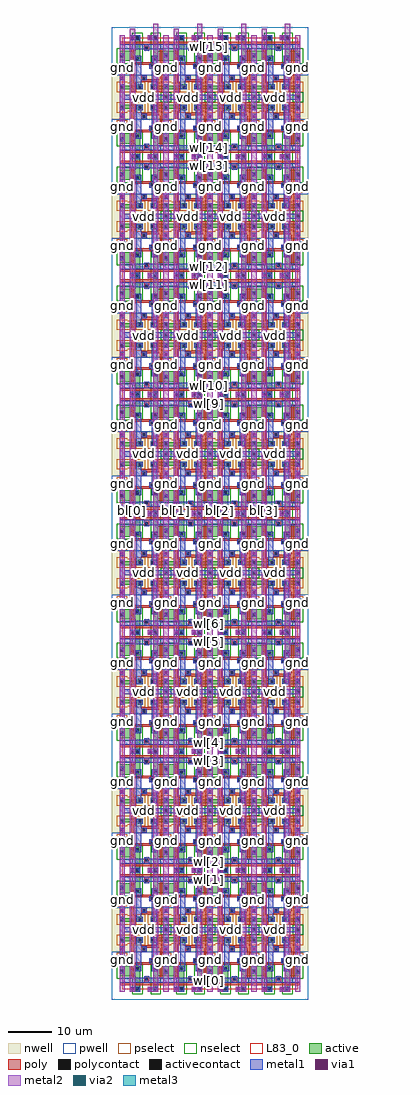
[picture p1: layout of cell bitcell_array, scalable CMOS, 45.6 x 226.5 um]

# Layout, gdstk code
import gdstk
lib = gdstk.Library(unit=1e-6, precision=1e-09)
def R(c, l, rs):  # rectangles x0, y0, x1, y1
    for r in rs: c.add(gdstk.rectangle(r[:2], r[2:], *l))
def A(c, l, x, y, w, h, nx, ny, dx, dy):  # array of equal rectangles
    R(c, l, [(x+i*dx, y+j*dy, x+i*dx+w, y+j*dy+h) for i in range(nx) for j in range(ny)])
pwell = (41, 0)
nwell = (42, 0)
active = (43, 0)
pselect = (44, 0)
nselect = (45, 0)
poly = (46, 0)
polycontact = (47, 0)
activecontact = (48, 0)
metal1 = (49, 0)
via1 = (50, 0)
metal2 = (51, 0)
via2 = (61, 0)
metal3 = (62, 0)
L83_0 = (83, 0)

cell_6t = lib.new_cell('cell_6t')
R(cell_6t, pwell, [(-2.4,-2.4,12.6,8.7)])
R(cell_6t, nwell, [(-2.4,8.7,12.6,15.3)])
A(cell_6t, active, 3.6, 10.8, 1.2, 0.3, 3, 1, 3, 0)
R(cell_6t, active, [(3,-0.6,4.2,3), (7.2,-0.6,8.4,3), (-0.6,3,4.2,5.4), (7.2,3,10.8,5.4), (-0.6,6.6,0.6,7.8), (9.6,6.6,10.8,7.8), (-0.6,10.8,0.6,11.1), (-0.6,11.1,4.8,12), (6.6,11.1,10.8,12), (9.6,13.2,10.8,14.4)])
A(cell_6t, pselect, 3, 10.2, 2.4, 0.3, 3, 1, 3, 0)
R(cell_6t, pselect, [(-1.2,6,1.2,8.4), (9,6,11.4,8.4), (-1.2,10.2,1.2,10.5), (-1.2,10.5,5.4,12.6), (6,10.5,11.4,12.6)])
R(cell_6t, nselect, [(2.4,-1.2,4.8,2.4), (6.6,-1.2,9,2.4), (-1.2,2.4,4.8,6), (6.6,2.4,11.4,6), (9,12.6,11.4,15)])
R(cell_6t, poly, [(-0.6,0.9,10.8,1.5), (5.1,1.5,6.3,3), (2.1,2.4,2.7,5.7), (8.7,2.4,9.3,9.6), (2.1,5.7,7.2,6), (2.1,6,7.5,6.3), (2.1,6.3,2.7,10.5), (6.3,6.3,7.5,7.2), (4.5,8.7,5.7,9.6), (4.5,9.6,9.3,10.2), (8.1,10.2,9.3,12.6), (2.1,10.5,3.3,12.6)])
R(cell_6t, polycontact, [(5.4,2.1,6,2.7), (6.6,6.3,7.2,6.9), (4.8,9,5.4,9.6)])
A(cell_6t, activecontact, 3.9, 11.1, 0.6, 0.6, 3, 1, 3, 0)
R(cell_6t, activecontact, [(3.3,-0.3,3.9,0.3), (7.5,-0.3,8.1,0.3), (-0.3,3.9,0.3,4.5), (9.9,3.9,10.5,4.5), (3.3,4.5,3.9,5.1), (7.5,4.5,8.1,5.1), (-0.3,6.9,0.3,7.5), (9.9,6.9,10.5,7.5), (-0.3,11.1,0.3,11.7), (9.9,13.5,10.5,14.1)])
R(cell_6t, metal1, [(1.8,-0.6,4.2,0.6), (6,-0.6,8.4,0.6), (-0.6,1.5,10.8,2.7), (-0.6,1.5,10.8,2.7), (5.1,2.7,6.3,3), (-0.6,3.6,0.6,9.9), (9.6,3.6,10.8,9.9), (3,4.2,4.5,5.4), (6.9,4.2,8.4,5.4), (3.3,5.4,4.5,8.7), (6.9,5.4,8.1,6), (6.3,6,8.1,7.2), (6.9,7.2,8.1,10.8), (3.3,8.7,5.7,9.9), (3.3,9.9,4.5,10.8), (-0.6,10.8,0.6,13.2), (3.3,10.8,4.8,12), (6.6,10.8,8.1,12), (9.6,10.8,10.8,13.2), (-0.6,13.2,10.8,14.4)])
R(cell_6t, via1, [(2.1,-0.3,2.7,0.3), (6.3,-0.3,6.9,0.3), (-0.3,9,0.3,9.6), (9.9,9,10.5,9.6), (4.8,13.5,5.4,14.1)])
R(cell_6t, metal2, [(-0.6,-0.6,0.6,14.4), (-0.6,-0.6,0.6,14.4), (1.8,-0.6,3,14.4), (1.8,-0.6,3,14.4), (6,-0.6,8.4,0.6), (9.6,-0.6,10.8,14.4), (9.6,-0.6,10.8,14.4), (7.2,0.6,8.4,14.4), (7.2,0.6,8.4,14.4), (4.5,13.2,5.7,14.4), (4.5,13.2,5.7,14.4)])
R(cell_6t, L83_0, [(0,0,10.2,13.8)])
cell_6t.add(gdstk.Label('wl', (1.2,2.1), layer=49, texttype=0))
cell_6t.add(gdstk.Label('br', (7.8,12.9), layer=51, texttype=0))
cell_6t.add(gdstk.Label('bl', (2.4,12.9), layer=51, texttype=0))
cell_6t.add(gdstk.Label('vdd', (5.1,13.8), layer=51, texttype=0))
cell_6t.add(gdstk.Label('gnd', (10.2,0), layer=51, texttype=0))
cell_6t.add(gdstk.Label('gnd', (0,0), layer=51, texttype=0))
cell_6t.add(gdstk.Label('bl', (2.4,6.9), layer=51, texttype=0))
cell_6t.add(gdstk.Label('br', (7.8,7.5), layer=51, texttype=0))
cell_6t.add(gdstk.Label('wl', (5.1,2.1), layer=49, texttype=0))
cell_6t.add(gdstk.Label('vdd', (5.1,13.8), layer=51, texttype=0))
cell_6t.add(gdstk.Label('gnd', (10.2,6.9), layer=51, texttype=0))
cell_6t.add(gdstk.Label('gnd', (0,6.9), layer=51, texttype=0))

metal2_via2_metal3_1x1 = lib.new_cell('metal2_via2_metal3_1x1')
R(metal2_via2_metal3_1x1, metal2, [(0.3,0.3,1.5,1.5)])
R(metal2_via2_metal3_1x1, via2, [(0.6,0.6,1.2,1.2)])
R(metal2_via2_metal3_1x1, metal3, [(0,0,1.8,1.8)])

bitcell_array = lib.new_cell('bitcell_array')
R(bitcell_array, metal1, [(-0.6,1.5,41.1,2.7), (-0.6,24.9,41.1,26.1), (-0.6,29.1,41.1,30.3), (-0.6,52.5,41.1,53.7), (-0.6,56.7,41.1,57.9), (-0.6,80.1,41.1,81.3), (-0.6,84.3,41.1,85.5), (-0.6,107.7,41.1,108.9), (-0.6,111.9,41.1,113.1), (-0.6,135.3,41.1,136.5), (-0.6,139.5,41.1,140.7), (-0.6,162.9,41.1,164.1), (-0.6,167.1,41.1,168.3), (-0.6,190.5,41.1,191.7), (-0.6,194.7,41.1,195.9), (-0.6,218.1,41.1,219.3)])
A(bitcell_array, metal2, 1.8, -0.6, 1.2, 223.5, 4, 1, 10.2, 0)
A(bitcell_array, metal2, 7.2, 0.6, 1.2, 223.5, 4, 1, 10.2, 0)
A(bitcell_array, metal3, -0.75, 6.15, 1.5, 1.5, 5, 16, 10.2, 13.8)
A(bitcell_array, metal3, 4.35, 13.05, 1.5, 1.5, 4, 8, 10.2, 27.6)
bitcell_array.add(gdstk.Reference(cell_6t, (0,0)))
bitcell_array.add(gdstk.Reference(cell_6t, (0,27.6), x_reflection=True))
bitcell_array.add(gdstk.Reference(cell_6t, (0,27.6)))
bitcell_array.add(gdstk.Reference(cell_6t, (0,55.2), x_reflection=True))
bitcell_array.add(gdstk.Reference(cell_6t, (0,55.2)))
bitcell_array.add(gdstk.Reference(cell_6t, (0,82.8), x_reflection=True))
bitcell_array.add(gdstk.Reference(cell_6t, (0,82.8)))
bitcell_array.add(gdstk.Reference(cell_6t, (0,110.4), x_reflection=True))
bitcell_array.add(gdstk.Reference(cell_6t, (0,110.4)))
bitcell_array.add(gdstk.Reference(cell_6t, (0,138), x_reflection=True))
bitcell_array.add(gdstk.Reference(cell_6t, (0,138)))
bitcell_array.add(gdstk.Reference(cell_6t, (0,165.6), x_reflection=True))
bitcell_array.add(gdstk.Reference(cell_6t, (0,165.6)))
bitcell_array.add(gdstk.Reference(cell_6t, (0,193.2), x_reflection=True))
bitcell_array.add(gdstk.Reference(cell_6t, (0,193.2)))
bitcell_array.add(gdstk.Reference(cell_6t, (0,220.8), x_reflection=True))
bitcell_array.add(gdstk.Reference(cell_6t, (10.2,0)))
bitcell_array.add(gdstk.Reference(cell_6t, (10.2,27.6), x_reflection=True))
bitcell_array.add(gdstk.Reference(cell_6t, (10.2,27.6)))
bitcell_array.add(gdstk.Reference(cell_6t, (10.2,55.2), x_reflection=True))
bitcell_array.add(gdstk.Reference(cell_6t, (10.2,55.2)))
bitcell_array.add(gdstk.Reference(cell_6t, (10.2,82.8), x_reflection=True))
bitcell_array.add(gdstk.Reference(cell_6t, (10.2,82.8)))
bitcell_array.add(gdstk.Reference(cell_6t, (10.2,110.4), x_reflection=True))
bitcell_array.add(gdstk.Reference(cell_6t, (10.2,110.4)))
bitcell_array.add(gdstk.Reference(cell_6t, (10.2,138), x_reflection=True))
bitcell_array.add(gdstk.Reference(cell_6t, (10.2,138)))
bitcell_array.add(gdstk.Reference(cell_6t, (10.2,165.6), x_reflection=True))
bitcell_array.add(gdstk.Reference(cell_6t, (10.2,165.6)))
bitcell_array.add(gdstk.Reference(cell_6t, (10.2,193.2), x_reflection=True))
bitcell_array.add(gdstk.Reference(cell_6t, (10.2,193.2)))
bitcell_array.add(gdstk.Reference(cell_6t, (10.2,220.8), x_reflection=True))
bitcell_array.add(gdstk.Reference(cell_6t, (20.4,0)))
bitcell_array.add(gdstk.Reference(cell_6t, (20.4,27.6), x_reflection=True))
bitcell_array.add(gdstk.Reference(cell_6t, (20.4,27.6)))
bitcell_array.add(gdstk.Reference(cell_6t, (20.4,55.2), x_reflection=True))
bitcell_array.add(gdstk.Reference(cell_6t, (20.4,55.2)))
bitcell_array.add(gdstk.Reference(cell_6t, (20.4,82.8), x_reflection=True))
bitcell_array.add(gdstk.Reference(cell_6t, (20.4,82.8)))
bitcell_array.add(gdstk.Reference(cell_6t, (20.4,110.4), x_reflection=True))
bitcell_array.add(gdstk.Reference(cell_6t, (20.4,110.4)))
bitcell_array.add(gdstk.Reference(cell_6t, (20.4,138), x_reflection=True))
bitcell_array.add(gdstk.Reference(cell_6t, (20.4,138)))
bitcell_array.add(gdstk.Reference(cell_6t, (20.4,165.6), x_reflection=True))
bitcell_array.add(gdstk.Reference(cell_6t, (20.4,165.6)))
bitcell_array.add(gdstk.Reference(cell_6t, (20.4,193.2), x_reflection=True))
bitcell_array.add(gdstk.Reference(cell_6t, (20.4,193.2)))
bitcell_array.add(gdstk.Reference(cell_6t, (20.4,220.8), x_reflection=True))
bitcell_array.add(gdstk.Reference(cell_6t, (30.6,0)))
bitcell_array.add(gdstk.Reference(cell_6t, (30.6,27.6), x_reflection=True))
bitcell_array.add(gdstk.Reference(cell_6t, (30.6,27.6)))
bitcell_array.add(gdstk.Reference(cell_6t, (30.6,55.2), x_reflection=True))
bitcell_array.add(gdstk.Reference(cell_6t, (30.6,55.2)))
bitcell_array.add(gdstk.Reference(cell_6t, (30.6,82.8), x_reflection=True))
bitcell_array.add(gdstk.Reference(cell_6t, (30.6,82.8)))
bitcell_array.add(gdstk.Reference(cell_6t, (30.6,110.4), x_reflection=True))
bitcell_array.add(gdstk.Reference(cell_6t, (30.6,110.4)))
bitcell_array.add(gdstk.Reference(cell_6t, (30.6,138), x_reflection=True))
bitcell_array.add(gdstk.Reference(cell_6t, (30.6,138)))
bitcell_array.add(gdstk.Reference(cell_6t, (30.6,165.6), x_reflection=True))
bitcell_array.add(gdstk.Reference(cell_6t, (30.6,165.6)))
bitcell_array.add(gdstk.Reference(cell_6t, (30.6,193.2), x_reflection=True))
bitcell_array.add(gdstk.Reference(cell_6t, (30.6,193.2)))
bitcell_array.add(gdstk.Reference(cell_6t, (30.6,220.8), x_reflection=True))
bitcell_array.add(gdstk.Reference(metal2_via2_metal3_1x1, (4.2,12.9)))
bitcell_array.add(gdstk.Reference(metal2_via2_metal3_1x1, (14.4,12.9)))
bitcell_array.add(gdstk.Reference(metal2_via2_metal3_1x1, (24.6,12.9)))
bitcell_array.add(gdstk.Reference(metal2_via2_metal3_1x1, (34.8,12.9)))
bitcell_array.add(gdstk.Reference(metal2_via2_metal3_1x1, (4.2,12.9)))
bitcell_array.add(gdstk.Reference(metal2_via2_metal3_1x1, (14.4,12.9)))
bitcell_array.add(gdstk.Reference(metal2_via2_metal3_1x1, (24.6,12.9)))
bitcell_array.add(gdstk.Reference(metal2_via2_metal3_1x1, (34.8,12.9)))
bitcell_array.add(gdstk.Reference(metal2_via2_metal3_1x1, (4.2,40.5)))
bitcell_array.add(gdstk.Reference(metal2_via2_metal3_1x1, (14.4,40.5)))
bitcell_array.add(gdstk.Reference(metal2_via2_metal3_1x1, (24.6,40.5)))
bitcell_array.add(gdstk.Reference(metal2_via2_metal3_1x1, (34.8,40.5)))
bitcell_array.add(gdstk.Reference(metal2_via2_metal3_1x1, (4.2,40.5)))
bitcell_array.add(gdstk.Reference(metal2_via2_metal3_1x1, (14.4,40.5)))
bitcell_array.add(gdstk.Reference(metal2_via2_metal3_1x1, (24.6,40.5)))
bitcell_array.add(gdstk.Reference(metal2_via2_metal3_1x1, (34.8,40.5)))
bitcell_array.add(gdstk.Reference(metal2_via2_metal3_1x1, (4.2,68.1)))
bitcell_array.add(gdstk.Reference(metal2_via2_metal3_1x1, (14.4,68.1)))
bitcell_array.add(gdstk.Reference(metal2_via2_metal3_1x1, (24.6,68.1)))
bitcell_array.add(gdstk.Reference(metal2_via2_metal3_1x1, (34.8,68.1)))
bitcell_array.add(gdstk.Reference(metal2_via2_metal3_1x1, (4.2,68.1)))
bitcell_array.add(gdstk.Reference(metal2_via2_metal3_1x1, (14.4,68.1)))
bitcell_array.add(gdstk.Reference(metal2_via2_metal3_1x1, (24.6,68.1)))
bitcell_array.add(gdstk.Reference(metal2_via2_metal3_1x1, (34.8,68.1)))
bitcell_array.add(gdstk.Reference(metal2_via2_metal3_1x1, (4.2,95.7)))
bitcell_array.add(gdstk.Reference(metal2_via2_metal3_1x1, (14.4,95.7)))
bitcell_array.add(gdstk.Reference(metal2_via2_metal3_1x1, (24.6,95.7)))
bitcell_array.add(gdstk.Reference(metal2_via2_metal3_1x1, (34.8,95.7)))
bitcell_array.add(gdstk.Reference(metal2_via2_metal3_1x1, (4.2,95.7)))
bitcell_array.add(gdstk.Reference(metal2_via2_metal3_1x1, (14.4,95.7)))
bitcell_array.add(gdstk.Reference(metal2_via2_metal3_1x1, (24.6,95.7)))
bitcell_array.add(gdstk.Reference(metal2_via2_metal3_1x1, (34.8,95.7)))
bitcell_array.add(gdstk.Reference(metal2_via2_metal3_1x1, (4.2,123.3)))
bitcell_array.add(gdstk.Reference(metal2_via2_metal3_1x1, (14.4,123.3)))
bitcell_array.add(gdstk.Reference(metal2_via2_metal3_1x1, (24.6,123.3)))
bitcell_array.add(gdstk.Reference(metal2_via2_metal3_1x1, (34.8,123.3)))
bitcell_array.add(gdstk.Reference(metal2_via2_metal3_1x1, (4.2,123.3)))
bitcell_array.add(gdstk.Reference(metal2_via2_metal3_1x1, (14.4,123.3)))
bitcell_array.add(gdstk.Reference(metal2_via2_metal3_1x1, (24.6,123.3)))
bitcell_array.add(gdstk.Reference(metal2_via2_metal3_1x1, (34.8,123.3)))
bitcell_array.add(gdstk.Reference(metal2_via2_metal3_1x1, (4.2,150.9)))
bitcell_array.add(gdstk.Reference(metal2_via2_metal3_1x1, (14.4,150.9)))
bitcell_array.add(gdstk.Reference(metal2_via2_metal3_1x1, (24.6,150.9)))
bitcell_array.add(gdstk.Reference(metal2_via2_metal3_1x1, (34.8,150.9)))
bitcell_array.add(gdstk.Reference(metal2_via2_metal3_1x1, (4.2,150.9)))
bitcell_array.add(gdstk.Reference(metal2_via2_metal3_1x1, (14.4,150.9)))
bitcell_array.add(gdstk.Reference(metal2_via2_metal3_1x1, (24.6,150.9)))
bitcell_array.add(gdstk.Reference(metal2_via2_metal3_1x1, (34.8,150.9)))
bitcell_array.add(gdstk.Reference(metal2_via2_metal3_1x1, (4.2,178.5)))
bitcell_array.add(gdstk.Reference(metal2_via2_metal3_1x1, (14.4,178.5)))
bitcell_array.add(gdstk.Reference(metal2_via2_metal3_1x1, (24.6,178.5)))
bitcell_array.add(gdstk.Reference(metal2_via2_metal3_1x1, (34.8,178.5)))
bitcell_array.add(gdstk.Reference(metal2_via2_metal3_1x1, (4.2,178.5)))
bitcell_array.add(gdstk.Reference(metal2_via2_metal3_1x1, (14.4,178.5)))
bitcell_array.add(gdstk.Reference(metal2_via2_metal3_1x1, (24.6,178.5)))
bitcell_array.add(gdstk.Reference(metal2_via2_metal3_1x1, (34.8,178.5)))
bitcell_array.add(gdstk.Reference(metal2_via2_metal3_1x1, (4.2,206.1)))
bitcell_array.add(gdstk.Reference(metal2_via2_metal3_1x1, (14.4,206.1)))
bitcell_array.add(gdstk.Reference(metal2_via2_metal3_1x1, (24.6,206.1)))
bitcell_array.add(gdstk.Reference(metal2_via2_metal3_1x1, (34.8,206.1)))
bitcell_array.add(gdstk.Reference(metal2_via2_metal3_1x1, (4.2,206.1)))
bitcell_array.add(gdstk.Reference(metal2_via2_metal3_1x1, (14.4,206.1)))
bitcell_array.add(gdstk.Reference(metal2_via2_metal3_1x1, (24.6,206.1)))
bitcell_array.add(gdstk.Reference(metal2_via2_metal3_1x1, (34.8,206.1)))
bitcell_array.add(gdstk.Reference(metal2_via2_metal3_1x1, (9.3,6)))
bitcell_array.add(gdstk.Reference(metal2_via2_metal3_1x1, (-0.9,6)))
bitcell_array.add(gdstk.Reference(metal2_via2_metal3_1x1, (19.5,6)))
bitcell_array.add(gdstk.Reference(metal2_via2_metal3_1x1, (9.3,6)))
bitcell_array.add(gdstk.Reference(metal2_via2_metal3_1x1, (29.7,6)))
bitcell_array.add(gdstk.Reference(metal2_via2_metal3_1x1, (19.5,6)))
bitcell_array.add(gdstk.Reference(metal2_via2_metal3_1x1, (39.9,6)))
bitcell_array.add(gdstk.Reference(metal2_via2_metal3_1x1, (29.7,6)))
bitcell_array.add(gdstk.Reference(metal2_via2_metal3_1x1, (9.3,19.8)))
bitcell_array.add(gdstk.Reference(metal2_via2_metal3_1x1, (-0.9,19.8)))
bitcell_array.add(gdstk.Reference(metal2_via2_metal3_1x1, (19.5,19.8)))
bitcell_array.add(gdstk.Reference(metal2_via2_metal3_1x1, (9.3,19.8)))
bitcell_array.add(gdstk.Reference(metal2_via2_metal3_1x1, (29.7,19.8)))
bitcell_array.add(gdstk.Reference(metal2_via2_metal3_1x1, (19.5,19.8)))
bitcell_array.add(gdstk.Reference(metal2_via2_metal3_1x1, (39.9,19.8)))
bitcell_array.add(gdstk.Reference(metal2_via2_metal3_1x1, (29.7,19.8)))
bitcell_array.add(gdstk.Reference(metal2_via2_metal3_1x1, (9.3,33.6)))
bitcell_array.add(gdstk.Reference(metal2_via2_metal3_1x1, (-0.9,33.6)))
bitcell_array.add(gdstk.Reference(metal2_via2_metal3_1x1, (19.5,33.6)))
bitcell_array.add(gdstk.Reference(metal2_via2_metal3_1x1, (9.3,33.6)))
bitcell_array.add(gdstk.Reference(metal2_via2_metal3_1x1, (29.7,33.6)))
bitcell_array.add(gdstk.Reference(metal2_via2_metal3_1x1, (19.5,33.6)))
bitcell_array.add(gdstk.Reference(metal2_via2_metal3_1x1, (39.9,33.6)))
bitcell_array.add(gdstk.Reference(metal2_via2_metal3_1x1, (29.7,33.6)))
bitcell_array.add(gdstk.Reference(metal2_via2_metal3_1x1, (9.3,47.4)))
bitcell_array.add(gdstk.Reference(metal2_via2_metal3_1x1, (-0.9,47.4)))
bitcell_array.add(gdstk.Reference(metal2_via2_metal3_1x1, (19.5,47.4)))
bitcell_array.add(gdstk.Reference(metal2_via2_metal3_1x1, (9.3,47.4)))
bitcell_array.add(gdstk.Reference(metal2_via2_metal3_1x1, (29.7,47.4)))
bitcell_array.add(gdstk.Reference(metal2_via2_metal3_1x1, (19.5,47.4)))
bitcell_array.add(gdstk.Reference(metal2_via2_metal3_1x1, (39.9,47.4)))
bitcell_array.add(gdstk.Reference(metal2_via2_metal3_1x1, (29.7,47.4)))
bitcell_array.add(gdstk.Reference(metal2_via2_metal3_1x1, (9.3,61.2)))
bitcell_array.add(gdstk.Reference(metal2_via2_metal3_1x1, (-0.9,61.2)))
bitcell_array.add(gdstk.Reference(metal2_via2_metal3_1x1, (19.5,61.2)))
bitcell_array.add(gdstk.Reference(metal2_via2_metal3_1x1, (9.3,61.2)))
bitcell_array.add(gdstk.Reference(metal2_via2_metal3_1x1, (29.7,61.2)))
bitcell_array.add(gdstk.Reference(metal2_via2_metal3_1x1, (19.5,61.2)))
bitcell_array.add(gdstk.Reference(metal2_via2_metal3_1x1, (39.9,61.2)))
bitcell_array.add(gdstk.Reference(metal2_via2_metal3_1x1, (29.7,61.2)))
bitcell_array.add(gdstk.Reference(metal2_via2_metal3_1x1, (9.3,75)))
bitcell_array.add(gdstk.Reference(metal2_via2_metal3_1x1, (-0.9,75)))
bitcell_array.add(gdstk.Reference(metal2_via2_metal3_1x1, (19.5,75)))
bitcell_array.add(gdstk.Reference(metal2_via2_metal3_1x1, (9.3,75)))
bitcell_array.add(gdstk.Reference(metal2_via2_metal3_1x1, (29.7,75)))
bitcell_array.add(gdstk.Reference(metal2_via2_metal3_1x1, (19.5,75)))
bitcell_array.add(gdstk.Reference(metal2_via2_metal3_1x1, (39.9,75)))
bitcell_array.add(gdstk.Reference(metal2_via2_metal3_1x1, (29.7,75)))
bitcell_array.add(gdstk.Reference(metal2_via2_metal3_1x1, (9.3,88.8)))
bitcell_array.add(gdstk.Reference(metal2_via2_metal3_1x1, (-0.9,88.8)))
bitcell_array.add(gdstk.Reference(metal2_via2_metal3_1x1, (19.5,88.8)))
bitcell_array.add(gdstk.Reference(metal2_via2_metal3_1x1, (9.3,88.8)))
bitcell_array.add(gdstk.Reference(metal2_via2_metal3_1x1, (29.7,88.8)))
bitcell_array.add(gdstk.Reference(metal2_via2_metal3_1x1, (19.5,88.8)))
bitcell_array.add(gdstk.Reference(metal2_via2_metal3_1x1, (39.9,88.8)))
bitcell_array.add(gdstk.Reference(metal2_via2_metal3_1x1, (29.7,88.8)))
bitcell_array.add(gdstk.Reference(metal2_via2_metal3_1x1, (9.3,102.6)))
bitcell_array.add(gdstk.Reference(metal2_via2_metal3_1x1, (-0.9,102.6)))
bitcell_array.add(gdstk.Reference(metal2_via2_metal3_1x1, (19.5,102.6)))
bitcell_array.add(gdstk.Reference(metal2_via2_metal3_1x1, (9.3,102.6)))
bitcell_array.add(gdstk.Reference(metal2_via2_metal3_1x1, (29.7,102.6)))
bitcell_array.add(gdstk.Reference(metal2_via2_metal3_1x1, (19.5,102.6)))
bitcell_array.add(gdstk.Reference(metal2_via2_metal3_1x1, (39.9,102.6)))
bitcell_array.add(gdstk.Reference(metal2_via2_metal3_1x1, (29.7,102.6)))
bitcell_array.add(gdstk.Reference(metal2_via2_metal3_1x1, (9.3,116.4)))
bitcell_array.add(gdstk.Reference(metal2_via2_metal3_1x1, (-0.9,116.4)))
bitcell_array.add(gdstk.Reference(metal2_via2_metal3_1x1, (19.5,116.4)))
bitcell_array.add(gdstk.Reference(metal2_via2_metal3_1x1, (9.3,116.4)))
bitcell_array.add(gdstk.Reference(metal2_via2_metal3_1x1, (29.7,116.4)))
bitcell_array.add(gdstk.Reference(metal2_via2_metal3_1x1, (19.5,116.4)))
bitcell_array.add(gdstk.Reference(metal2_via2_metal3_1x1, (39.9,116.4)))
bitcell_array.add(gdstk.Reference(metal2_via2_metal3_1x1, (29.7,116.4)))
bitcell_array.add(gdstk.Reference(metal2_via2_metal3_1x1, (9.3,130.2)))
bitcell_array.add(gdstk.Reference(metal2_via2_metal3_1x1, (-0.9,130.2)))
bitcell_array.add(gdstk.Reference(metal2_via2_metal3_1x1, (19.5,130.2)))
bitcell_array.add(gdstk.Reference(metal2_via2_metal3_1x1, (9.3,130.2)))
bitcell_array.add(gdstk.Reference(metal2_via2_metal3_1x1, (29.7,130.2)))
bitcell_array.add(gdstk.Reference(metal2_via2_metal3_1x1, (19.5,130.2)))
bitcell_array.add(gdstk.Reference(metal2_via2_metal3_1x1, (39.9,130.2)))
bitcell_array.add(gdstk.Reference(metal2_via2_metal3_1x1, (29.7,130.2)))
bitcell_array.add(gdstk.Reference(metal2_via2_metal3_1x1, (9.3,144)))
bitcell_array.add(gdstk.Reference(metal2_via2_metal3_1x1, (-0.9,144)))
bitcell_array.add(gdstk.Reference(metal2_via2_metal3_1x1, (19.5,144)))
bitcell_array.add(gdstk.Reference(metal2_via2_metal3_1x1, (9.3,144)))
bitcell_array.add(gdstk.Reference(metal2_via2_metal3_1x1, (29.7,144)))
bitcell_array.add(gdstk.Reference(metal2_via2_metal3_1x1, (19.5,144)))
bitcell_array.add(gdstk.Reference(metal2_via2_metal3_1x1, (39.9,144)))
bitcell_array.add(gdstk.Reference(metal2_via2_metal3_1x1, (29.7,144)))
bitcell_array.add(gdstk.Reference(metal2_via2_metal3_1x1, (9.3,157.8)))
bitcell_array.add(gdstk.Reference(metal2_via2_metal3_1x1, (-0.9,157.8)))
bitcell_array.add(gdstk.Reference(metal2_via2_metal3_1x1, (19.5,157.8)))
bitcell_array.add(gdstk.Reference(metal2_via2_metal3_1x1, (9.3,157.8)))
bitcell_array.add(gdstk.Reference(metal2_via2_metal3_1x1, (29.7,157.8)))
bitcell_array.add(gdstk.Reference(metal2_via2_metal3_1x1, (19.5,157.8)))
bitcell_array.add(gdstk.Reference(metal2_via2_metal3_1x1, (39.9,157.8)))
bitcell_array.add(gdstk.Reference(metal2_via2_metal3_1x1, (29.7,157.8)))
bitcell_array.add(gdstk.Reference(metal2_via2_metal3_1x1, (9.3,171.6)))
bitcell_array.add(gdstk.Reference(metal2_via2_metal3_1x1, (-0.9,171.6)))
bitcell_array.add(gdstk.Reference(metal2_via2_metal3_1x1, (19.5,171.6)))
bitcell_array.add(gdstk.Reference(metal2_via2_metal3_1x1, (9.3,171.6)))
bitcell_array.add(gdstk.Reference(metal2_via2_metal3_1x1, (29.7,171.6)))
bitcell_array.add(gdstk.Reference(metal2_via2_metal3_1x1, (19.5,171.6)))
bitcell_array.add(gdstk.Reference(metal2_via2_metal3_1x1, (39.9,171.6)))
bitcell_array.add(gdstk.Reference(metal2_via2_metal3_1x1, (29.7,171.6)))
bitcell_array.add(gdstk.Reference(metal2_via2_metal3_1x1, (9.3,185.4)))
bitcell_array.add(gdstk.Reference(metal2_via2_metal3_1x1, (-0.9,185.4)))
bitcell_array.add(gdstk.Reference(metal2_via2_metal3_1x1, (19.5,185.4)))
bitcell_array.add(gdstk.Reference(metal2_via2_metal3_1x1, (9.3,185.4)))
bitcell_array.add(gdstk.Reference(metal2_via2_metal3_1x1, (29.7,185.4)))
bitcell_array.add(gdstk.Reference(metal2_via2_metal3_1x1, (19.5,185.4)))
bitcell_array.add(gdstk.Reference(metal2_via2_metal3_1x1, (39.9,185.4)))
bitcell_array.add(gdstk.Reference(metal2_via2_metal3_1x1, (29.7,185.4)))
bitcell_array.add(gdstk.Reference(metal2_via2_metal3_1x1, (9.3,199.2)))
bitcell_array.add(gdstk.Reference(metal2_via2_metal3_1x1, (-0.9,199.2)))
bitcell_array.add(gdstk.Reference(metal2_via2_metal3_1x1, (19.5,199.2)))
bitcell_array.add(gdstk.Reference(metal2_via2_metal3_1x1, (9.3,199.2)))
bitcell_array.add(gdstk.Reference(metal2_via2_metal3_1x1, (29.7,199.2)))
bitcell_array.add(gdstk.Reference(metal2_via2_metal3_1x1, (19.5,199.2)))
bitcell_array.add(gdstk.Reference(metal2_via2_metal3_1x1, (39.9,199.2)))
bitcell_array.add(gdstk.Reference(metal2_via2_metal3_1x1, (29.7,199.2)))
bitcell_array.add(gdstk.Reference(metal2_via2_metal3_1x1, (9.3,213)))
bitcell_array.add(gdstk.Reference(metal2_via2_metal3_1x1, (-0.9,213)))
bitcell_array.add(gdstk.Reference(metal2_via2_metal3_1x1, (19.5,213)))
bitcell_array.add(gdstk.Reference(metal2_via2_metal3_1x1, (9.3,213)))
bitcell_array.add(gdstk.Reference(metal2_via2_metal3_1x1, (29.7,213)))
bitcell_array.add(gdstk.Reference(metal2_via2_metal3_1x1, (19.5,213)))
bitcell_array.add(gdstk.Reference(metal2_via2_metal3_1x1, (39.9,213)))
bitcell_array.add(gdstk.Reference(metal2_via2_metal3_1x1, (29.7,213)))
bitcell_array.add(gdstk.Label('bl[0]', (2.4,111.15), layer=51, texttype=0))
bitcell_array.add(gdstk.Label('br[0]', (7.8,112.35), layer=51, texttype=0))
bitcell_array.add(gdstk.Label('bl[1]', (12.6,111.15), layer=51, texttype=0))
bitcell_array.add(gdstk.Label('br[1]', (18,112.35), layer=51, texttype=0))
bitcell_array.add(gdstk.Label('bl[2]', (22.8,111.15), layer=51, texttype=0))
bitcell_array.add(gdstk.Label('br[2]', (28.2,112.35), layer=51, texttype=0))
bitcell_array.add(gdstk.Label('bl[3]', (33,111.15), layer=51, texttype=0))
bitcell_array.add(gdstk.Label('br[3]', (38.4,112.35), layer=51, texttype=0))
bitcell_array.add(gdstk.Label('wl[0]', (20.25,2.1), layer=49, texttype=0))
bitcell_array.add(gdstk.Label('wl[1]', (20.25,25.5), layer=49, texttype=0))
bitcell_array.add(gdstk.Label('wl[2]', (20.25,29.7), layer=49, texttype=0))
bitcell_array.add(gdstk.Label('wl[3]', (20.25,53.1), layer=49, texttype=0))
bitcell_array.add(gdstk.Label('wl[4]', (20.25,57.3), layer=49, texttype=0))
bitcell_array.add(gdstk.Label('wl[5]', (20.25,80.7), layer=49, texttype=0))
bitcell_array.add(gdstk.Label('wl[6]', (20.25,84.9), layer=49, texttype=0))
bitcell_array.add(gdstk.Label('wl[7]', (20.25,108.3), layer=49, texttype=0))
bitcell_array.add(gdstk.Label('wl[8]', (20.25,112.5), layer=49, texttype=0))
bitcell_array.add(gdstk.Label('wl[9]', (20.25,135.9), layer=49, texttype=0))
bitcell_array.add(gdstk.Label('wl[10]', (20.25,140.1), layer=49, texttype=0))
bitcell_array.add(gdstk.Label('wl[11]', (20.25,163.5), layer=49, texttype=0))
bitcell_array.add(gdstk.Label('wl[12]', (20.25,167.7), layer=49, texttype=0))
bitcell_array.add(gdstk.Label('wl[13]', (20.25,191.1), layer=49, texttype=0))
bitcell_array.add(gdstk.Label('wl[14]', (20.25,195.3), layer=49, texttype=0))
bitcell_array.add(gdstk.Label('wl[15]', (20.25,218.7), layer=49, texttype=0))
bitcell_array.add(gdstk.Label('vdd', (5.1,13.8), layer=62, texttype=0))
bitcell_array.add(gdstk.Label('vdd', (15.3,13.8), layer=62, texttype=0))
bitcell_array.add(gdstk.Label('vdd', (25.5,13.8), layer=62, texttype=0))
bitcell_array.add(gdstk.Label('vdd', (35.7,13.8), layer=62, texttype=0))
bitcell_array.add(gdstk.Label('vdd', (5.1,41.4), layer=62, texttype=0))
bitcell_array.add(gdstk.Label('vdd', (15.3,41.4), layer=62, texttype=0))
bitcell_array.add(gdstk.Label('vdd', (25.5,41.4), layer=62, texttype=0))
bitcell_array.add(gdstk.Label('vdd', (35.7,41.4), layer=62, texttype=0))
bitcell_array.add(gdstk.Label('vdd', (5.1,69), layer=62, texttype=0))
bitcell_array.add(gdstk.Label('vdd', (15.3,69), layer=62, texttype=0))
bitcell_array.add(gdstk.Label('vdd', (25.5,69), layer=62, texttype=0))
bitcell_array.add(gdstk.Label('vdd', (35.7,69), layer=62, texttype=0))
bitcell_array.add(gdstk.Label('vdd', (5.1,96.6), layer=62, texttype=0))
bitcell_array.add(gdstk.Label('vdd', (15.3,96.6), layer=62, texttype=0))
bitcell_array.add(gdstk.Label('vdd', (25.5,96.6), layer=62, texttype=0))
bitcell_array.add(gdstk.Label('vdd', (35.7,96.6), layer=62, texttype=0))
bitcell_array.add(gdstk.Label('vdd', (5.1,124.2), layer=62, texttype=0))
bitcell_array.add(gdstk.Label('vdd', (15.3,124.2), layer=62, texttype=0))
bitcell_array.add(gdstk.Label('vdd', (25.5,124.2), layer=62, texttype=0))
bitcell_array.add(gdstk.Label('vdd', (35.7,124.2), layer=62, texttype=0))
bitcell_array.add(gdstk.Label('vdd', (5.1,151.8), layer=62, texttype=0))
bitcell_array.add(gdstk.Label('vdd', (15.3,151.8), layer=62, texttype=0))
bitcell_array.add(gdstk.Label('vdd', (25.5,151.8), layer=62, texttype=0))
bitcell_array.add(gdstk.Label('vdd', (35.7,151.8), layer=62, texttype=0))
bitcell_array.add(gdstk.Label('vdd', (5.1,179.4), layer=62, texttype=0))
bitcell_array.add(gdstk.Label('vdd', (15.3,179.4), layer=62, texttype=0))
bitcell_array.add(gdstk.Label('vdd', (25.5,179.4), layer=62, texttype=0))
bitcell_array.add(gdstk.Label('vdd', (35.7,179.4), layer=62, texttype=0))
bitcell_array.add(gdstk.Label('vdd', (5.1,207), layer=62, texttype=0))
bitcell_array.add(gdstk.Label('vdd', (15.3,207), layer=62, texttype=0))
bitcell_array.add(gdstk.Label('vdd', (25.5,207), layer=62, texttype=0))
bitcell_array.add(gdstk.Label('vdd', (35.7,207), layer=62, texttype=0))
bitcell_array.add(gdstk.Label('gnd', (10.2,6.9), layer=62, texttype=0))
bitcell_array.add(gdstk.Label('gnd', (0,6.9), layer=62, texttype=0))
bitcell_array.add(gdstk.Label('gnd', (20.4,6.9), layer=62, texttype=0))
bitcell_array.add(gdstk.Label('gnd', (30.6,6.9), layer=62, texttype=0))
bitcell_array.add(gdstk.Label('gnd', (40.8,6.9), layer=62, texttype=0))
bitcell_array.add(gdstk.Label('gnd', (10.2,20.7), layer=62, texttype=0))
bitcell_array.add(gdstk.Label('gnd', (0,20.7), layer=62, texttype=0))
bitcell_array.add(gdstk.Label('gnd', (20.4,20.7), layer=62, texttype=0))
bitcell_array.add(gdstk.Label('gnd', (30.6,20.7), layer=62, texttype=0))
bitcell_array.add(gdstk.Label('gnd', (40.8,20.7), layer=62, texttype=0))
bitcell_array.add(gdstk.Label('gnd', (10.2,34.5), layer=62, texttype=0))
bitcell_array.add(gdstk.Label('gnd', (0,34.5), layer=62, texttype=0))
bitcell_array.add(gdstk.Label('gnd', (20.4,34.5), layer=62, texttype=0))
bitcell_array.add(gdstk.Label('gnd', (30.6,34.5), layer=62, texttype=0))
bitcell_array.add(gdstk.Label('gnd', (40.8,34.5), layer=62, texttype=0))
bitcell_array.add(gdstk.Label('gnd', (10.2,48.3), layer=62, texttype=0))
bitcell_array.add(gdstk.Label('gnd', (0,48.3), layer=62, texttype=0))
bitcell_array.add(gdstk.Label('gnd', (20.4,48.3), layer=62, texttype=0))
bitcell_array.add(gdstk.Label('gnd', (30.6,48.3), layer=62, texttype=0))
bitcell_array.add(gdstk.Label('gnd', (40.8,48.3), layer=62, texttype=0))
bitcell_array.add(gdstk.Label('gnd', (10.2,62.1), layer=62, texttype=0))
bitcell_array.add(gdstk.Label('gnd', (0,62.1), layer=62, texttype=0))
bitcell_array.add(gdstk.Label('gnd', (20.4,62.1), layer=62, texttype=0))
bitcell_array.add(gdstk.Label('gnd', (30.6,62.1), layer=62, texttype=0))
bitcell_array.add(gdstk.Label('gnd', (40.8,62.1), layer=62, texttype=0))
bitcell_array.add(gdstk.Label('gnd', (10.2,75.9), layer=62, texttype=0))
bitcell_array.add(gdstk.Label('gnd', (0,75.9), layer=62, texttype=0))
bitcell_array.add(gdstk.Label('gnd', (20.4,75.9), layer=62, texttype=0))
bitcell_array.add(gdstk.Label('gnd', (30.6,75.9), layer=62, texttype=0))
bitcell_array.add(gdstk.Label('gnd', (40.8,75.9), layer=62, texttype=0))
bitcell_array.add(gdstk.Label('gnd', (10.2,89.7), layer=62, texttype=0))
bitcell_array.add(gdstk.Label('gnd', (0,89.7), layer=62, texttype=0))
bitcell_array.add(gdstk.Label('gnd', (20.4,89.7), layer=62, texttype=0))
bitcell_array.add(gdstk.Label('gnd', (30.6,89.7), layer=62, texttype=0))
bitcell_array.add(gdstk.Label('gnd', (40.8,89.7), layer=62, texttype=0))
bitcell_array.add(gdstk.Label('gnd', (10.2,103.5), layer=62, texttype=0))
bitcell_array.add(gdstk.Label('gnd', (0,103.5), layer=62, texttype=0))
bitcell_array.add(gdstk.Label('gnd', (20.4,103.5), layer=62, texttype=0))
bitcell_array.add(gdstk.Label('gnd', (30.6,103.5), layer=62, texttype=0))
bitcell_array.add(gdstk.Label('gnd', (40.8,103.5), layer=62, texttype=0))
bitcell_array.add(gdstk.Label('gnd', (10.2,117.3), layer=62, texttype=0))
bitcell_array.add(gdstk.Label('gnd', (0,117.3), layer=62, texttype=0))
bitcell_array.add(gdstk.Label('gnd', (20.4,117.3), layer=62, texttype=0))
bitcell_array.add(gdstk.Label('gnd', (30.6,117.3), layer=62, texttype=0))
bitcell_array.add(gdstk.Label('gnd', (40.8,117.3), layer=62, texttype=0))
bitcell_array.add(gdstk.Label('gnd', (10.2,131.1), layer=62, texttype=0))
bitcell_array.add(gdstk.Label('gnd', (0,131.1), layer=62, texttype=0))
bitcell_array.add(gdstk.Label('gnd', (20.4,131.1), layer=62, texttype=0))
bitcell_array.add(gdstk.Label('gnd', (30.6,131.1), layer=62, texttype=0))
bitcell_array.add(gdstk.Label('gnd', (40.8,131.1), layer=62, texttype=0))
bitcell_array.add(gdstk.Label('gnd', (10.2,144.9), layer=62, texttype=0))
bitcell_array.add(gdstk.Label('gnd', (0,144.9), layer=62, texttype=0))
bitcell_array.add(gdstk.Label('gnd', (20.4,144.9), layer=62, texttype=0))
bitcell_array.add(gdstk.Label('gnd', (30.6,144.9), layer=62, texttype=0))
bitcell_array.add(gdstk.Label('gnd', (40.8,144.9), layer=62, texttype=0))
bitcell_array.add(gdstk.Label('gnd', (10.2,158.7), layer=62, texttype=0))
bitcell_array.add(gdstk.Label('gnd', (0,158.7), layer=62, texttype=0))
bitcell_array.add(gdstk.Label('gnd', (20.4,158.7), layer=62, texttype=0))
bitcell_array.add(gdstk.Label('gnd', (30.6,158.7), layer=62, texttype=0))
bitcell_array.add(gdstk.Label('gnd', (40.8,158.7), layer=62, texttype=0))
bitcell_array.add(gdstk.Label('gnd', (10.2,172.5), layer=62, texttype=0))
bitcell_array.add(gdstk.Label('gnd', (0,172.5), layer=62, texttype=0))
bitcell_array.add(gdstk.Label('gnd', (20.4,172.5), layer=62, texttype=0))
bitcell_array.add(gdstk.Label('gnd', (30.6,172.5), layer=62, texttype=0))
bitcell_array.add(gdstk.Label('gnd', (40.8,172.5), layer=62, texttype=0))
bitcell_array.add(gdstk.Label('gnd', (10.2,186.3), layer=62, texttype=0))
bitcell_array.add(gdstk.Label('gnd', (0,186.3), layer=62, texttype=0))
bitcell_array.add(gdstk.Label('gnd', (20.4,186.3), layer=62, texttype=0))
bitcell_array.add(gdstk.Label('gnd', (30.6,186.3), layer=62, texttype=0))
bitcell_array.add(gdstk.Label('gnd', (40.8,186.3), layer=62, texttype=0))
bitcell_array.add(gdstk.Label('gnd', (10.2,200.1), layer=62, texttype=0))
bitcell_array.add(gdstk.Label('gnd', (0,200.1), layer=62, texttype=0))
bitcell_array.add(gdstk.Label('gnd', (20.4,200.1), layer=62, texttype=0))
bitcell_array.add(gdstk.Label('gnd', (30.6,200.1), layer=62, texttype=0))
bitcell_array.add(gdstk.Label('gnd', (40.8,200.1), layer=62, texttype=0))
bitcell_array.add(gdstk.Label('gnd', (10.2,213.9), layer=62, texttype=0))
bitcell_array.add(gdstk.Label('gnd', (0,213.9), layer=62, texttype=0))
bitcell_array.add(gdstk.Label('gnd', (20.4,213.9), layer=62, texttype=0))
bitcell_array.add(gdstk.Label('gnd', (30.6,213.9), layer=62, texttype=0))
bitcell_array.add(gdstk.Label('gnd', (40.8,213.9), layer=62, texttype=0))

lib.write_gds('bitcell_array.gds')
